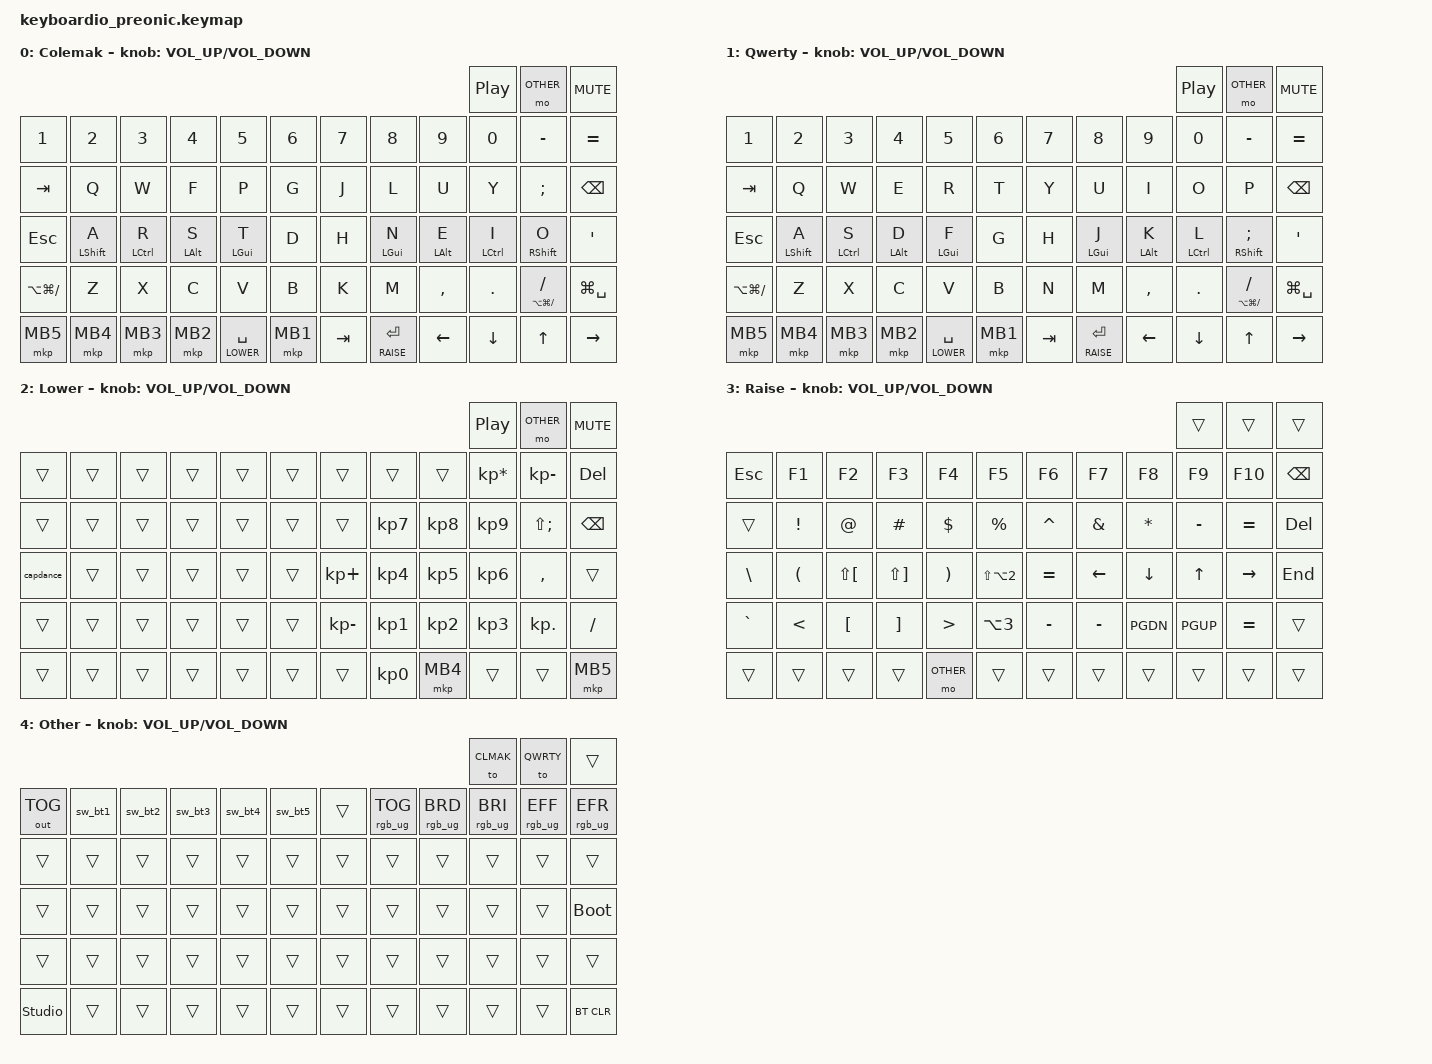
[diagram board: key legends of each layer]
/*
 * Copyright (c) 2022 Pete Johanson
 *
 * SPDX-License-Identifier: MIT
 */

#include <behaviors.dtsi>
#include <dt-bindings/zmk/keys.h>
#include <dt-bindings/zmk/bt.h>
#include <dt-bindings/zmk/outputs.h>
#include <dt-bindings/zmk/backlight.h>
#include <dt-bindings/zmk/rgb.h>

#define ZMK_POINTING_DEFAULT_MOVE_VAL 600  // default: 600
#define ZMK_POINTING_DEFAULT_SCRL_VAL 10   // default: 10
#include <dt-bindings/zmk/pointing.h>

#define CLMAK 0
#define QWRTY 1
#define LOWER 2
#define RAISE 3
#define OTHER 4

// Using layer taps on thumbs, having quick tap as well helps w/ repeating space/backspace
&lt { quick_tap_ms = <200>; };

// Convenience macro to make the Bluetooth commands shorter
#define BT(n) BT_SEL n

// Hyper key: all the modifiers
#define HYPER LC(LS(LA(LGUI)))

/ {
    chosen {
        // Valid choices: [ &mit_layout, &ortho_layout ]
        zmk,physical-layout = &ortho_layout;
    };

    macros {
        // Cmd + mouse button 4
        cmd_mb4: cmd_mb4 {
            compatible = "zmk,behavior-macro";
            #binding-cells = <0>;
            wait-ms = <0>;
            tap-ms = <0>;
            bindings =
                <&macro_press &kp LGUI>,
                <&mkp MB4>,
                <&macro_release &kp LGUI>;
        };

        // BLE shortcuts
        sw_bt1: sw_bt1 {
            compatible = "zmk,behavior-macro";
            #binding-cells = <0>;
            wait-ms = <0>;
            tap-ms = <0>;
            bindings =
                <&rgb_ug RGB_COLOR_HSB(128,100,10)>,
                <&bt BT(0)>;
        };
        sw_bt2: sw_bt2 {
            compatible = "zmk,behavior-macro";
            #binding-cells = <0>;
            wait-ms = <40>;
            tap-ms = <40>;
            bindings =
                <&rgb_ug RGB_COLOR_HSB(0,100,10)>,
                <&bt BT(1)>;
        };
        sw_bt3: sw_bt3 {
            compatible = "zmk,behavior-macro";
            #binding-cells = <0>;
            wait-ms = <40>;
            tap-ms = <40>;
            bindings =
                <&rgb_ug RGB_COLOR_HSB(300,100,10)>,
                <&bt BT(2)>;
        };
        sw_bt4: sw_bt4 {
            compatible = "zmk,behavior-macro";
            #binding-cells = <0>;
            wait-ms = <40>;
            tap-ms = <40>;
            bindings =
                <&rgb_ug RGB_COLOR_HSB(250,100,10)>,
                <&bt BT(3)>;
        };
        sw_bt5: sw_bt5 {
            compatible = "zmk,behavior-macro";
            #binding-cells = <0>;
            wait-ms = <40>;
            tap-ms = <40>;
            bindings =
                <&rgb_ug RGB_COLOR_HSB(50,100,10)>,
                <&bt BT(4)>;
        };
    };

    behaviors {
        hrm: hrm {
            compatible = "zmk,behavior-hold-tap";
            #binding-cells = <2>;
            tapping-term-ms = <200>;
            flavor = "hold-preferred";
            // param 0 = hold behavior, param 1 = tap behavior
            bindings = <&kp>, <&kp>;
        };

    // KEY POSITION REFERENCE
    // ---------------------------------------------------------------
    //                                                | 00 | 01 | 02 |
    // | 03 | 04 | 05 | 06 | 07 | 08 |   09 | 10 | 11 | 12 | 13 | 14 |
    // | 15 | 16 | 17 | 18 | 19 | 20 |   21 | 22 | 23 | 24 | 25 | 26 |
    // | 27 | 28 | 29 | 30 | 31 | 32 |   33 | 34 | 35 | 36 | 37 | 38 |
    // | 39 | 40 | 41 | 42 | 43 | 44 |   45 | 46 | 47 | 48 | 49 | 50 |
    // | 51 | 52 | 53 | 54 | 55 | 56 |   57 | 58 | 59 | 60 | 61 | 62 |

    hml: homewrow_mods_left {
      compatible = "zmk,behavior-hold-tap";
      #binding-cells = <2>;
      bindings = <&kp>, <&kp>;

      tapping-term-ms = <200>;
      hold-trigger-key-positions = <9 10 11 12 13 14 21 22 23 24 25 26 33 34 35 36 37 38 45 46 47 48 49 50 57 58 59 60 61 62>;
      quick-tap-ms = <150>;
      require-prior-idle-ms = <125>;
      flavor = "tap-preferred";
      hold-trigger-on-release;
    };

    hmr: homewrow_mods_right {
      compatible = "zmk,behavior-hold-tap";
      #binding-cells = <2>;
      bindings = <&kp>, <&kp>;

      tapping-term-ms = <200>;
      hold-trigger-key-positions = <3 4 5 6 7 8 15 16 17 18 19 20 27 28 29 30 31 32 39 40 41 42 43 44 51 52 53 54 55 56>;
      quick-tap-ms = <150>;
      require-prior-idle-ms = <125>;
      flavor = "tap-preferred";
      hold-trigger-on-release;
    };

    capdance: capdance {
      compatible = "zmk,behavior-tap-dance";
      #binding-cells = <0>;
      bindings = <&caps_word>, <&kp CAPS>;
    };

    hol_tog: hold_toggle {
      compatible = "zmk,behavior-hold-tap";
      bindings = <&mo>, <&tog>;

      #binding-cells = <2>;
      tapping-term-ms = <200>;
    };

    bsp_del: bsp_del {
      compatible = "zmk,behavior-mod-morph";
      bindings = <&kp BACKSPACE>, <&kp DELETE>;

      #binding-cells = <0>;
      mods = <(MOD_LCTL)>;
    };

};

    keymap {
        compatible = "zmk,keymap";

            // KEY POSITION REFERENCE
            // ---------------------------------------------------------------
            //                                                | 00 | 01 | 02 |
            // | 03 | 04 | 05 | 06 | 07 | 08 |   09 | 10 | 11 | 12 | 13 | 14 |
            // | 15 | 16 | 17 | 18 | 19 | 20 |   21 | 22 | 23 | 24 | 25 | 26 |
            // | 27 | 28 | 29 | 30 | 31 | 32 |   33 | 34 | 35 | 36 | 37 | 38 |
            // | 39 | 40 | 41 | 42 | 43 | 44 |   45 | 46 | 47 | 48 | 49 | 50 |
            // | 51 | 52 | 53 | 54 | 55 | 56 |   57 | 58 | 59 | 60 | 61 | 62 |

        colemak_layer {
            display-name = "Colemak";
            bindings = <
                                                                                                                                                     &kp C_PP       &mo OTHER     &kp C_MUTE
                &kp N1            &kp N2         &kp N3         &kp N4         &kp N5         &kp N6            &kp N7   &kp N8         &kp N9         &kp N0         &kp MINUS     &kp EQUAL
                &kp TAB           &kp Q          &kp W          &kp F          &kp P          &kp G             &kp J    &kp L          &kp U          &kp Y          &kp SEMI      &kp BSPC
                &kp ESC           &hml LSHIFT A  &hml LCTRL R   &hml LALT  S   &hml LGUI  T   &kp D             &kp H    &hmr LGUI  N   &hmr LALT  E   &hmr LCTRL I   &hmr RSHIFT O   &kp SQT
                &kp LA(LG(FSLH))  &kp Z          &kp X          &kp C          &kp V          &kp B             &kp K    &kp M          &kp COMMA      &kp PERIOD     &hmr LA(LG(SLASH)) SLASH     &kp LG(SPACE)
                &mkp MB5          &mkp MB4       &mkp MB3       &mkp MB2       &lt LOWER SPACE   &mkp MB1      &kp TAB  &lt RAISE ENTER   &kp LEFT    &kp DOWN       &kp UP        &kp RIGHT
                >;
            sensor-bindings = <&inc_dec_kp C_VOLUME_UP C_VOLUME_DOWN>;
        };

        qwerty_layer {
            display-name = "Qwerty";
            bindings = <
                                                                                                                                                       &kp C_PP       &mo OTHER     &kp C_MUTE
                &kp N1            &kp N2         &kp N3         &kp N4         &kp N5         &kp N6            &kp N7   &kp N8         &kp N9         &kp N0         &kp MINUS     &kp EQUAL
                &kp TAB           &kp Q          &kp W          &kp E          &kp R          &kp T             &kp Y    &kp U          &kp I          &kp O          &kp P         &kp BSPC
                &kp ESC           &hml LSHIFT A  &hml LCTRL S   &hml LALT D    &hml LGUI F    &kp G             &kp H    &hmr LGUI J    &hmr LALT K    &hmr LCTRL L   &hmr RSHIFT SEMI &kp SQT
                &kp LA(LG(FSLH))  &kp Z          &kp X          &kp C          &kp V          &kp B             &kp N    &kp M          &kp COMMA      &kp PERIOD     &hmr LA(LG(SLASH)) SLASH     &kp LG(SPACE)
                &mkp MB5          &mkp MB4       &mkp MB3       &mkp MB2       &lt LOWER SPACE   &mkp MB1      &kp TAB  &lt RAISE ENTER   &kp LEFT    &kp DOWN       &kp UP        &kp RIGHT
            >;
            sensor-bindings = <&inc_dec_kp C_VOLUME_UP C_VOLUME_DOWN>;
        };

        lower_layer {
            display-name = "Lower";
            bindings = <
                                                                                                                                                       &kp C_PP      &mo OTHER       &kp C_MUTE
                &trans             &trans        &trans        &trans          &trans      &trans               &trans      &trans       &trans    &kp KP_MULTIPLY &kp KP_MINUS    &kp DELETE
                &trans             &trans        &trans        &trans          &trans      &trans               &trans      &kp KP_N7    &kp KP_N8   &kp KP_N9       &kp LS(SEMI)    &kp BSPC
                &capdance          &trans        &trans        &trans          &trans      &trans               &kp KP_PLUS  &kp KP_N4   &kp KP_N5   &kp KP_N6       &kp COMMA       &trans
                &trans             &trans        &trans        &trans          &trans      &trans               &kp KP_MINUS &kp KP_N1   &kp KP_N2   &kp KP_N3       &kp KP_DOT      &kp FSLH
                &trans             &trans        &trans        &trans          &trans      &trans               &trans      &kp KP_N0    &mkp MB4    &trans          &trans          &mkp MB5
            >;
            sensor-bindings = <&inc_dec_kp C_VOLUME_UP C_VOLUME_DOWN>;
        };

        raise_layer {
            display-name = "Raise";
            bindings = <
                                                                                                                                                      &trans        &trans     &trans
                 &kp ESC           &kp F1        &kp F2        &kp F3         &kp F4      &kp F5                &kp F6      &kp F7       &kp F8       &kp F9        &kp F10    &kp BSPC
                 &trans            &kp EXCL      &kp AT        &kp HASH       &kp DLLR    &kp PRCNT             &kp CARET   &kp AMPS     &kp STAR     &kp MINUS     &kp EQUAL  &kp DELETE
                 &kp BSLH          &kp LPAR      &kp LS(LBKT)  &kp LS(RBKT)   &kp RPAR    &kp LS(LA(N2))        &kp EQUAL   &kp LEFT     &kp DOWN     &kp UP        &kp RIGHT  &kp END
                 &kp GRAVE         &kp LT        &kp LBKT      &kp RBKT       &kp GT      &kp LA(N3)            &kp MINUS   &kp MINUS    &kp PGDN     &kp PGUP      &kp EQUAL  &trans
                 &trans            &trans        &trans        &trans         &mo OTHER   &trans                &trans      &trans       &trans       &trans        &trans     &trans
            >;
            sensor-bindings = <&inc_dec_kp C_VOLUME_UP C_VOLUME_DOWN>;
        };

        other_layer {
            display-name = "Other";
            bindings = <
                                                                                                                            &to CLMAK   &to QWRTY   &trans
                 &out OUT_TOG &sw_bt1     &sw_bt2     &sw_bt3     &sw_bt4     &sw_bt5     &trans      &rgb_ug RGB_TOG  &rgb_ug RGB_BRD  &rgb_ug RGB_BRI  &rgb_ug RGB_EFF   &rgb_ug RGB_EFR
                 &trans       &trans      &trans      &trans      &trans      &trans      &trans      &trans     &trans     &trans      &trans      &trans
                 &trans       &trans      &trans      &trans      &trans      &trans      &trans      &trans     &trans     &trans      &trans      &bootloader
                 &trans       &trans      &trans      &trans      &trans      &trans      &trans      &trans     &trans     &trans      &trans      &trans
                 &studio_unlock &trans    &trans      &trans      &trans      &trans      &trans      &trans     &trans     &trans      &trans      &bt BT_CLR
            >;
            sensor-bindings = <&inc_dec_kp C_VOLUME_UP C_VOLUME_DOWN>;
        };

    };
};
